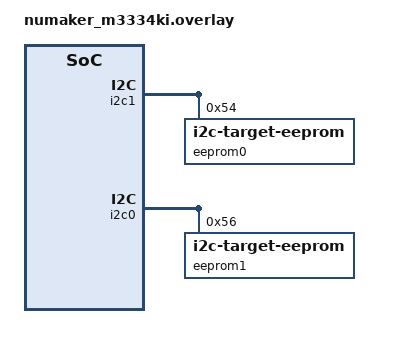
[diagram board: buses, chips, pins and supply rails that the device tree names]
/*
 * SPDX-FileCopyrightText: Copyright (c) 2025 Nuvoton Technology Corporation
 * SPDX-License-Identifier: Apache-2.0
 */

&pinctrl {
	i2c1_default: i2c1_default {
		group0 {
			pinmux = <PB2MFP_I2C1_SDA>,  /* UNO D0 */
				 <PB3MFP_I2C1_SCL>;  /* UNO D1 */
		};
	};

	i2c0_default: i2c0_default {
		group0 {
			pinmux = <PC0MFP_I2C0_SDA>,  /* UNO D14 */
				 <PC1MFP_I2C0_SCL>;  /* UNO D15 */
		};
	};
};

&i2c1 {
	pinctrl-0 = <&i2c1_default>;
	pinctrl-names = "default";
	status = "okay";

	eeprom0: eeprom@54 {
		compatible = "zephyr,i2c-target-eeprom";
		reg = <0x54>;
		address-width = <16>;
		size = <1024>;
	};
};

&i2c0 {
	pinctrl-0 = <&i2c0_default>;
	pinctrl-names = "default";
	status = "okay";

	eeprom1: eeprom@56 {
		compatible = "zephyr,i2c-target-eeprom";
		reg = <0x56>;
		address-width = <16>;
		size = <1024>;
	};
};
